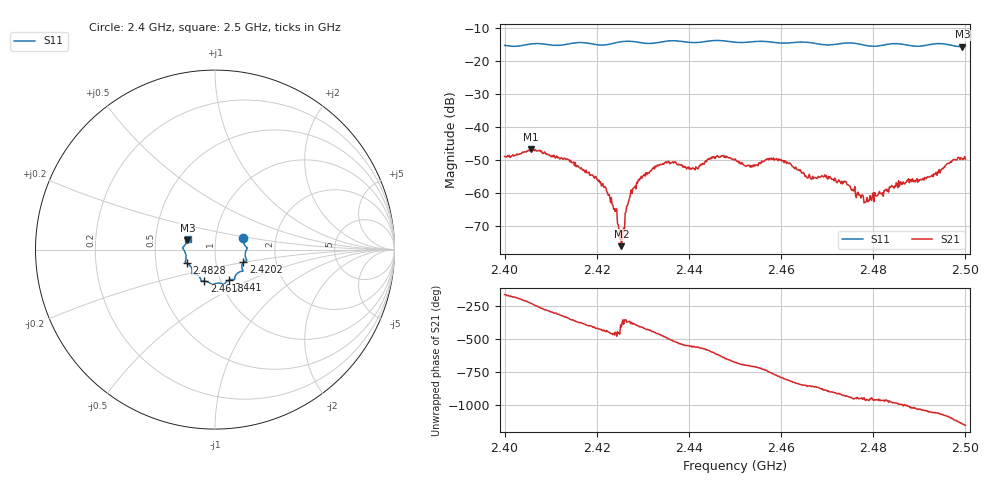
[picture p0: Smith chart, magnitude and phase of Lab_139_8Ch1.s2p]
# Hz S RI R 50
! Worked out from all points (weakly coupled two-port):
!   601 points, 2.4 GHz to 2.5 GHz, reference 50 ohm
!   highest |S21| = -46.72 dB at 2.4057 GHz (marker M1); lowest = -76.0 dB at 2.4253 GHz (marker M2)
!   lowest |S11| = -15.8 dB at 2.4993 GHz (marker M3), VSWR 1.39, Z = 36.5 + j3.84 ohm
!   |S11| at or under -10 dB: start of sweep to end of sweep
!   S12 and S22 are empty: the file has one direction only
!   S11 on the Smith chart (normalised r, x): 2.4 GHz: 1.36, +0.18; 2.4202 GHz: 1.36, -0.20; 2.441 GHz: 1.10, -0.39; 2.4618 GHz: 0.84, -0.30; 2.4828 GHz: 0.72, -0.11; 2.5 GHz: 0.73, +0.09
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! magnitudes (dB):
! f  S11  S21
! 2.4 GHz  -15.4  -48.9
! 2.4057 GHz  -15.0  -46.7
! 2.4167 GHz  -14.5  -52.4
! 2.4202 GHz  -15.2  -55.8
! 2.4238 GHz  -14.7  -64.7
! 2.4253 GHz  -14.3  -76.0
! 2.4258 GHz  -14.2  -70.6
! 2.4267 GHz  -14.1  -63.7
! 2.4278 GHz  -14.2  -58.6
! 2.4333 GHz  -14.5  -51.7
! 2.441 GHz  -14.6  -52.6
! 2.4458 GHz  -13.9  -49.0
! 2.45 GHz  -14.4  -49.7
! 2.4528 GHz  -14.4  -51.6
! 2.4618 GHz  -14.6  -50.9
! 2.4667 GHz  -14.6  -55.8
! 2.474 GHz  -14.7  -56.4
! 2.4785 GHz  -15.4  -62.5
! 2.4828 GHz  -15.1  -58.8
! 2.4833 GHz  -15.0  -59.7
! 2.4993 GHz  -15.8  -49.7
! 2.5 GHz  -15.7  -49.7
